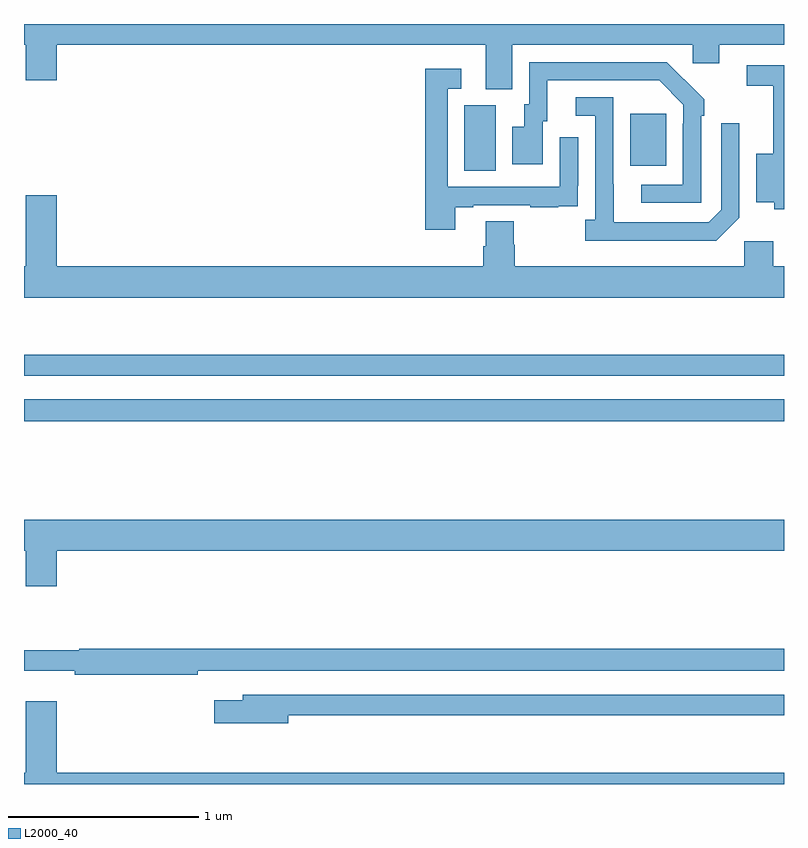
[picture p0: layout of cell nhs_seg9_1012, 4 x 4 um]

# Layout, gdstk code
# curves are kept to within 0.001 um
import gdstk
lib = gdstk.Library(unit=1e-6, precision=1e-09)
def R(c, l, rs):  # rectangles x0, y0, x1, y1
    for r in rs: c.add(gdstk.rectangle(r[:2], r[2:], *l))
def P(c, l, *ps):  # polygons
    for p in ps: c.add(gdstk.Polygon(p, *l))
L2000_40 = (2000, 40)

nhs_seg9_1012 = lib.new_cell('nhs_seg9_1012')
R(nhs_seg9_1012, L2000_40, [(165,1222.408,169,1222.524), (165,1222.65,169,1222.759), (167.318,1223.728,167.482,1224.072), (168.191,1223.753,168.379,1224.028)])
P(nhs_seg9_1012, L2000_40, [(167.569,1224.392),(168.519,1224.392),(168.519,1224.294),(168.658,1224.294),(168.658,1224.392),(169,1224.392),(169,1224.5),(165,1224.5),(165,1224.392),(165.008,1224.392),(165.008,1224.204),(165.172,1224.204),(165.172,1224.392),(167.429,1224.392),(167.429,1224.157),(167.569,1224.157)],
  [(168.564,1224.017),(168.579,1224.017),(168.579,1224.105),(168.382,1224.3),(167.658,1224.3),(167.658,1224.078),(167.633,1224.078),(167.633,1223.959),(167.57,1223.959),(167.57,1223.763),(167.731,1223.763),(167.731,1223.988),(167.755,1223.988),(167.755,1224.204),(168.343,1224.204),(168.471,1224.075),(168.471,1223.975),(168.468,1223.975),(168.468,1223.655),(168.249,1223.655),(168.249,1223.559),(168.564,1223.559)],
  [(169,1224.282),(168.804,1224.282),(168.804,1224.174),(168.944,1224.174),(168.944,1223.818),(168.854,1223.818),(168.854,1223.561),(168.948,1223.561),(168.948,1223.526),(169,1223.526)],
  [(167.269,1223.535),(167.365,1223.535),(167.365,1223.547),(167.665,1223.547),(167.665,1223.535),(167.813,1223.535),(167.813,1223.541),(167.915,1223.541),(167.915,1223.65),(167.916,1223.65),(167.916,1223.905),(167.82,1223.905),(167.82,1223.643),(167.229,1223.643),(167.229,1224.159),(167.302,1224.159),(167.302,1224.265),(167.113,1224.265),(167.113,1223.418),(167.269,1223.418)],
  [(168.765,1223.481),(168.765,1223.977),(168.669,1223.977),(168.669,1223.523),(168.603,1223.457),(168.103,1223.457),(168.102,1224.114),(167.904,1224.114),(167.904,1224.018),(168.006,1224.018),(168.006,1223.47),(167.955,1223.47),(167.955,1223.36),(168.644,1223.36)],
  [(169,1223.224),(168.944,1223.224),(168.944,1223.356),(168.792,1223.356),(168.792,1223.224),(167.582,1223.224),(167.582,1223.337),(167.577,1223.337),(167.577,1223.462),(167.429,1223.462),(167.429,1223.33),(167.417,1223.33),(167.417,1223.224),(165.172,1223.224),(165.172,1223.599),(165.008,1223.599),(165.008,1223.224),(165,1223.224),(165,1223.06),(169,1223.06)],
  [(165.172,1221.728),(169,1221.728),(169,1221.892),(165,1221.892),(165,1221.728),(165.008,1221.728),(165.008,1221.54),(165.172,1221.54)],
  [(165.914,1221.096),(169,1221.096),(169,1221.212),(165.29,1221.212),(165.29,1221.205),(165,1221.205),(165,1221.095),(165.268,1221.095),(165.268,1221.076),(165.914,1221.076)],
  [(166.39,1220.862),(169,1220.862),(169,1220.97),(166.151,1220.97),(166.151,1220.941),(166.002,1220.941),(166.002,1220.819),(166.39,1220.819)],
  [(169,1220.56),(165.172,1220.56),(165.172,1220.935),(165.008,1220.935),(165.008,1220.56),(165,1220.56),(165,1220.5),(169,1220.5)])

lib.write_gds('nhs_seg9_1012.gds')
